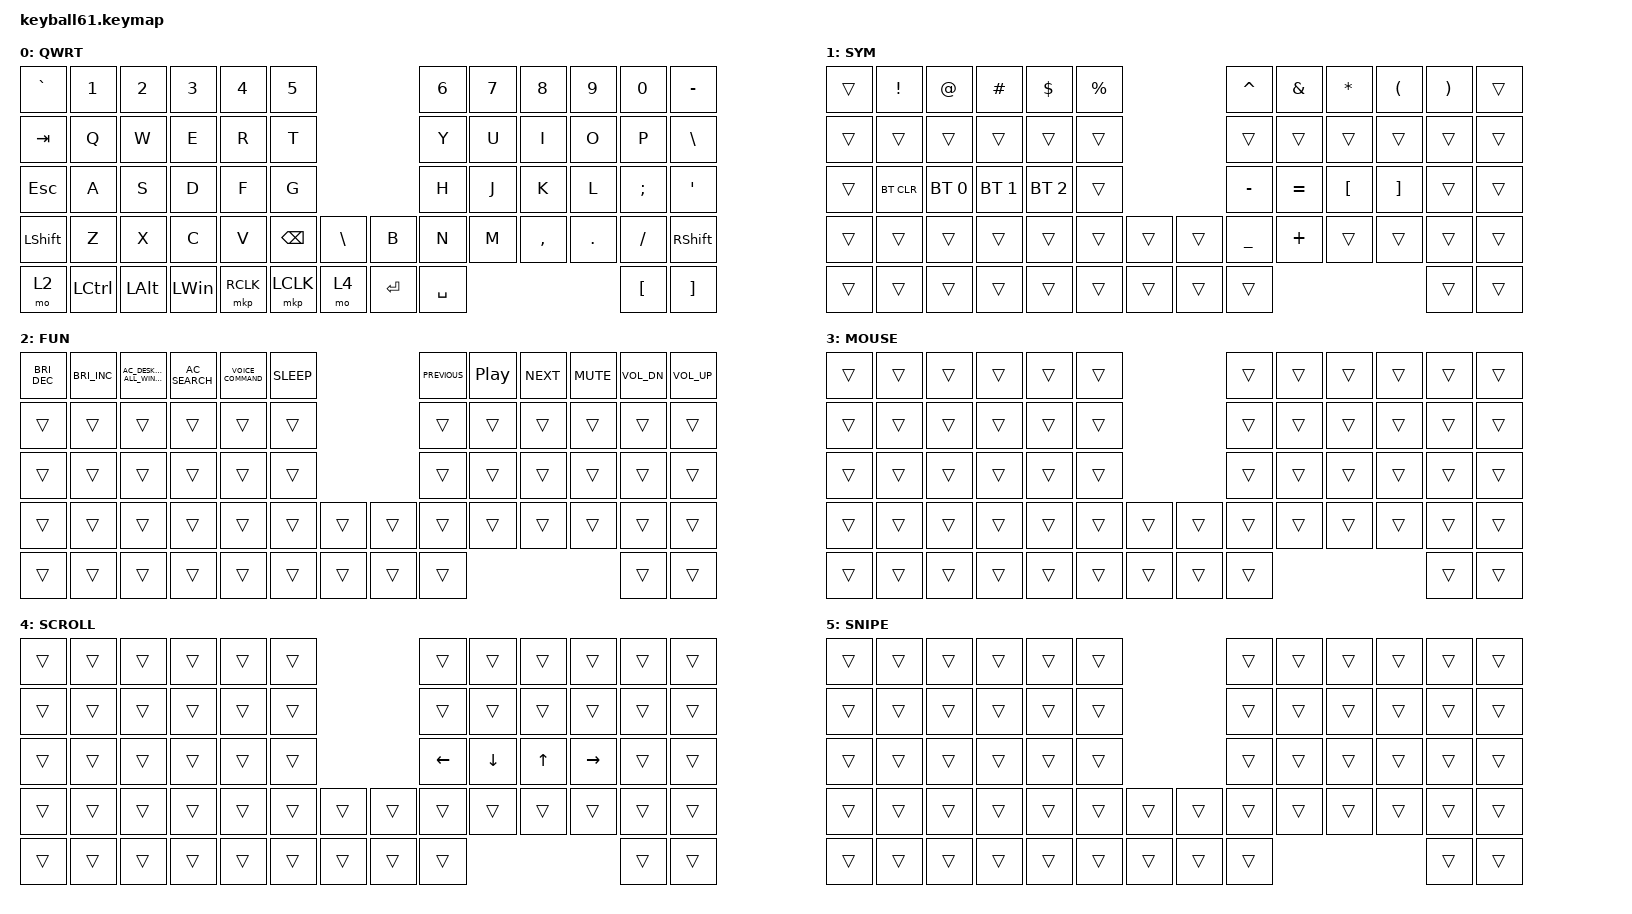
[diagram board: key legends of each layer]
#define DEFAULT 0
#define SYM     1
#define FUN     2
#define MOUSE   3
#define SCROLL  4
#define SNIPE   5

#include <behaviors/mouse_keys.dtsi>
#include <dt-bindings/zmk/mouse.h>
#include <behaviors.dtsi>
#include <dt-bindings/zmk/bt.h>
#include <dt-bindings/zmk/keys.h>
#include <dt-bindings/zmk/pointing.h>

&lt {
    tapping-term-ms = <240>;
    flavor = "balanced";
    quick-tap-ms = <150>;
};

&mt {
    tapping-term-ms = <200>;
    flavor = "tap-preferred";
    quick-tap-ms = <150>;
};

/ {
    keymap {
        compatible = "zmk,keymap";

        default_layer {
            label = "QWRT";
            bindings = <
&kp GRAVE       &kp N1     &kp N2        &kp N3        &kp N4     &kp N5                                    &kp N6     &kp N7  &kp N8     &kp N9   &kp N0            &kp MINUS
&kp TAB         &kp Q      &kp W         &kp E         &kp R      &kp T                                     &kp Y      &kp U   &kp I      &kp O    &kp P             &kp BACKSLASH
&kp ESCAPE      &kp A      &kp S         &kp D         &kp F      &kp G                                     &kp H      &kp J   &kp K      &kp L    &kp SEMI          &kp SQT
&kp LEFT_SHIFT  &kp Z      &kp X         &kp C         &kp V      &kp BACKSPACE  &kp BACKSLASH  &kp B       &kp N      &kp M   &kp COMMA  &kp DOT  &kp FSLH          &kp RIGHT_SHIFT
&mo 2           &kp LCTRL  &kp LEFT_ALT  &kp LEFT_WIN  &mkp RCLK  &mkp LCLK      &mo 4          &kp RETURN  &kp SPACE                              &kp LEFT_BRACKET  &kp RIGHT_BRACKET
            >;
        };

        symbol_layer {
            label = "SYM";
            bindings = <
&trans  &kp EXCLAMATION  &kp AT_SIGN   &kp HASH      &kp DOLLAR    &kp PERCENT                  &kp CARET       &kp AMPERSAND  &kp ASTERISK      &kp LEFT_PARENTHESIS  &kp RIGHT_PARENTHESIS  &trans
&trans  &trans           &trans        &trans        &trans        &trans                       &trans          &trans         &trans            &trans                &trans                 &trans
&trans  &bt BT_CLR       &bt BT_SEL 0  &bt BT_SEL 1  &bt BT_SEL 2  &trans                       &kp MINUS       &kp EQUAL      &kp LEFT_BRACKET  &kp RIGHT_BRACKET     &trans                 &trans
&trans  &trans           &trans        &trans        &trans        &trans       &trans  &trans  &kp UNDERSCORE  &kp PLUS       &trans            &trans                &trans                 &trans
&trans  &trans           &trans        &trans        &trans        &trans       &trans  &trans  &trans                                                                 &trans                 &trans
            >;
        };

        function_layer {
            label = "FUN";
            bindings = <
&kp C_BRIGHTNESS_DEC  &kp C_BRIGHTNESS_INC  &kp C_AC_DESKTOP_SHOW_ALL_WINDOWS  &kp C_AC_SEARCH  &kp C_VOICE_COMMAND  &kp C_SLEEP                  &kp C_PREVIOUS  &kp C_PLAY_PAUSE  &kp C_NEXT  &kp C_MUTE  &kp C_VOL_DN  &kp C_VOLUME_UP
&trans                &trans                &trans                             &trans           &trans               &trans                       &trans          &trans            &trans      &trans      &trans        &trans
&trans                &trans                &trans                             &trans           &trans               &trans                       &trans          &trans            &trans      &trans      &trans        &trans
&trans                &trans                &trans                             &trans           &trans               &trans       &trans  &trans  &trans          &trans            &trans      &trans      &trans        &trans
&trans                &trans                &trans                             &trans           &trans               &trans       &trans  &trans  &trans                                                    &trans        &trans
            >;
        };

        mouse_layer {
            label = "MOUSE";
            bindings = <
&trans  &trans  &trans  &trans  &trans  &trans                  &trans  &trans  &trans  &trans  &trans  &trans
&trans  &trans  &trans  &trans  &trans  &trans                  &trans  &trans  &trans  &trans  &trans  &trans
&trans  &trans  &trans  &trans  &trans  &trans                  &trans  &trans  &trans  &trans  &trans  &trans
&trans  &trans  &trans  &trans  &trans  &trans  &trans  &trans  &trans  &trans  &trans  &trans  &trans  &trans
&trans  &trans  &trans  &trans  &trans  &trans  &trans  &trans  &trans                          &trans  &trans
            >;
        };

        scroll_layer {
            label = "SCROLL";
            bindings = <
&trans  &trans  &trans  &trans  &trans  &trans                  &trans          &trans          &trans        &trans     &trans  &trans
&trans  &trans  &trans  &trans  &trans  &trans                  &trans          &trans          &trans        &trans     &trans  &trans
&trans  &trans  &trans  &trans  &trans  &trans                  &kp LEFT_ARROW  &kp DOWN_ARROW  &kp UP_ARROW  &kp RIGHT  &trans  &trans
&trans  &trans  &trans  &trans  &trans  &trans  &trans  &trans  &trans          &trans          &trans        &trans     &trans  &trans
&trans  &trans  &trans  &trans  &trans  &trans  &trans  &trans  &trans                                                   &trans  &trans
            >;
        };

        snipe_layer {
            label = "SNIPE";
            bindings = <
&trans  &trans  &trans  &trans  &trans  &trans                  &trans  &trans  &trans  &trans  &trans  &trans
&trans  &trans  &trans  &trans  &trans  &trans                  &trans  &trans  &trans  &trans  &trans  &trans
&trans  &trans  &trans  &trans  &trans  &trans                  &trans  &trans  &trans  &trans  &trans  &trans
&trans  &trans  &trans  &trans  &trans  &trans  &trans  &trans  &trans  &trans  &trans  &trans  &trans  &trans
&trans  &trans  &trans  &trans  &trans  &trans  &trans  &trans  &trans                          &trans  &trans
            >;
        };
    };
};
